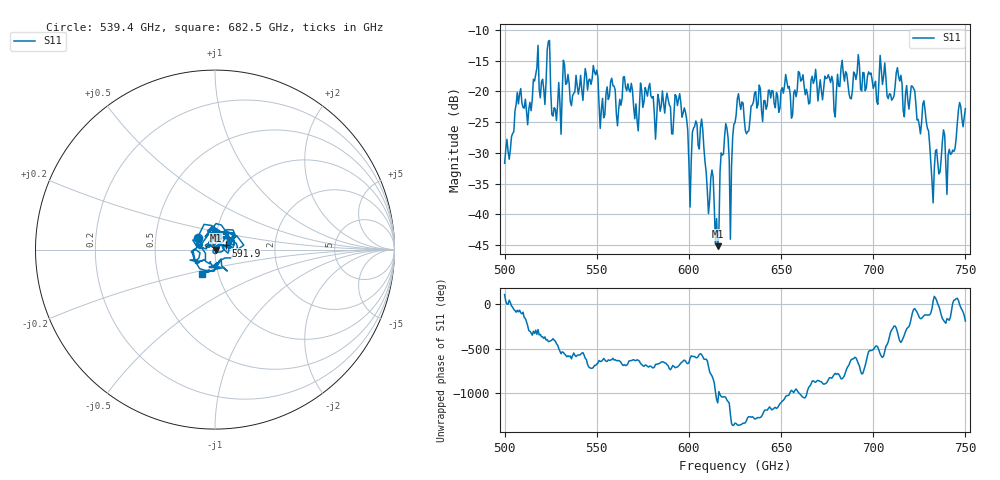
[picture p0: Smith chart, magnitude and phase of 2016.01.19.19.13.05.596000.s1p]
!Created with skrf (http://scikit-rf.org).
# GHz S RI R 50.0
!freq ReS11 ImS11
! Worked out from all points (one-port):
!   401 points, 500 GHz to 750 GHz, reference 50 ohm
!   lowest |S11| = -45.1 dB at 615.6 GHz (marker M1), VSWR 1.01, Z = 50.5 - j0.277 ohm
!   |S11| at or under -10 dB: start of sweep to end of sweep
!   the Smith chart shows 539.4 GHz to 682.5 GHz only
!   S11 on the Smith chart (normalised r, x): 539.4 GHz: 0.83, +0.11; 591.9 GHz: 1.13, +0.05; 682.5 GHz: 0.84, -0.23
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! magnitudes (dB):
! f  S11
! 500 GHz  -31.7
! 516.9 GHz  -17.2
! 520.6 GHz  -18.0
! 523.8 GHz  -11.9
! 526.9 GHz  -22.7
! 531.2 GHz  -20.3
! 539.4 GHz  -19.0
! 562.5 GHz  -21.3
! 565.6 GHz  -19.4
! 571.2 GHz  -22.0
! 577.5 GHz  -20.8
! 591.9 GHz  -23.9
! 593.8 GHz  -22.3
! 600.6 GHz  -38.8
! 603.1 GHz  -25.7
! 607.5 GHz  -26.2
! 615.6 GHz  -45.1
! 618.8 GHz  -30.2
! 622.5 GHz  -44.0
! 625 GHz  -25.1
! 656.2 GHz  -23.8
! 682.5 GHz  -16.3
! 687.5 GHz  -21.1
! 705 GHz  -18.9
! 718.8 GHz  -21.5
! 728.1 GHz  -23.1
! 732.5 GHz  -38.1
! 750 GHz  -22.8
